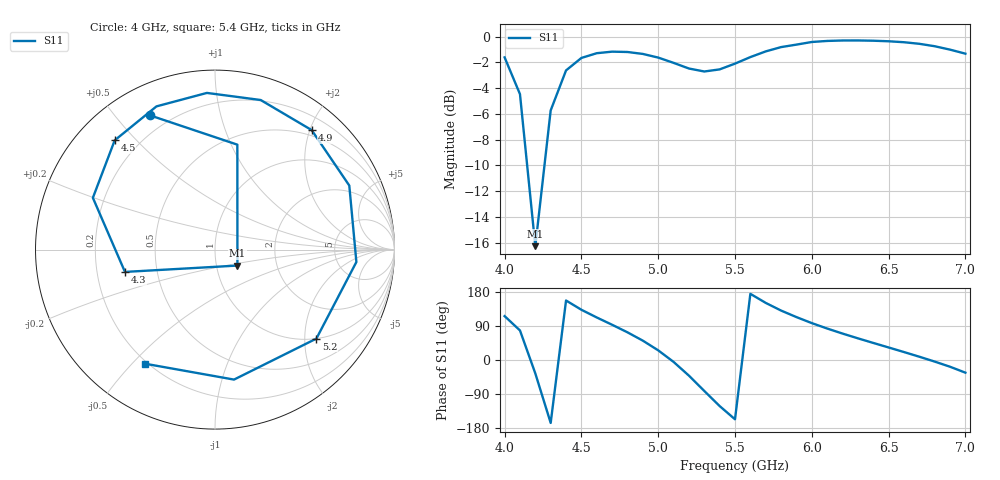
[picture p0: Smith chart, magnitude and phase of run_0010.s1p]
! Touchstone file exported from HFSS 2024.2.0
!  File:  C:/Users/wsak9/Desktop/Sim Fast/Widenad Patch/WP_AI_V1_sweep.aedt
!  Generated:  03:07:21 PM Oct 13, 2026
!  Design:  A1_model
!  Project:  WP_AI_V1_sweep
!  Setup:  Setup1
!  Solution:  Sweep
! Variables:
!  Air_gap = 3.03mm
!  Curve_Amp1 = 2.58
!  Curve_len1 = 1
!  Curve_pos = 13.33mm
!  Extra = 7.53mm
!  H_sub = 0.79mm
!  L_Patch = 22.66mm
!  L_Patch1 = 17.75mm
!  Sx = 3.6mm
!  Sy = 4.77mm
!  WS = 0.56mm
!  W_Patch = 11mm
!  W_Patch1 = 10.22mm
!Data is not renormalized
# GHz S MA
! Terminal data exported
! Port[1] = 1
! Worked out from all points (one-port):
!   31 points, 4 GHz to 7 GHz, reference per port
!   lowest |S11| = -16.3 dB at 4.2 GHz (marker M1), VSWR 1.36
!   |S11| at or under -10 dB: 4.147 GHz to 4.26 GHz (112.7 MHz wide, 2.68 % of centre)
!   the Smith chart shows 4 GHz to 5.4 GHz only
!   S11 on the Smith chart (normalised r, x): 4 GHz: 0.13, +0.62; 4.3 GHz: 0.32, -0.11; 4.5 GHz: 0.11, +0.43; 4.9 GHz: 0.41, +2.03; 5.2 GHz: 1.00, -2.28; 5.4 GHz: 0.19, -0.54
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4  0.8304 115.8
4.1  0.5978 78.0
4.2  0.1534 -35.5
4.3  0.5168 -166.1
4.4  0.7391 157.0
4.5  0.8263 132.6
4.6  0.862 112.2
4.7  0.8741 93.0
4.8  0.8715 73.0
4.9  0.8564 51.0
5  0.8289 25.5
5.1  0.7907 -5.0
5.2  0.7517 -41.3
5.3  0.7319 -81.7
5.4  0.7458 -121.5
5.5  0.7853 -156.5
5.6  0.8326 174.6
5.7  0.876 150.7
5.8  0.9105 130.5
5.9  0.9309 113.2
6  0.953 97.4
6.1  0.962 83.0
6.3  0.9662 57.2
6.5  0.9592 33.1
6.7  0.9377 8.7
6.8  0.9175 -4.2
6.9  0.89 -17.8
7  0.8585 -33.4
